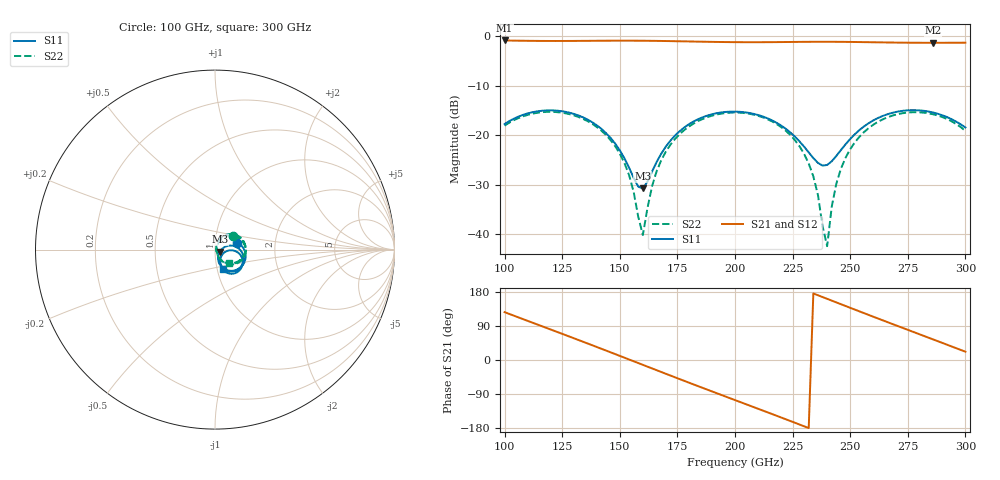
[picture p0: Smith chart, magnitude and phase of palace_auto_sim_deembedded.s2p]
! Created with skrf 1.11.0 (http://scikit-rf.org).
# GHz S DB R 50.0
!freq dBS11 angS11 dBS21 angS21 dBS12 angS12 dBS22 angS22
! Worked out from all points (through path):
!   101 points, 100 GHz to 300 GHz, reference 50 ohm
!   highest |S21| = -0.86 dB at 100 GHz (marker M1); lowest = -1.3 dB at 286 GHz (marker M2)
!   group delay of S21, straight-line fit = 6.46 ps
!   lowest |S11| = -30.8 dB at 160 GHz (marker M3), VSWR 1.06, Z = 52.8 - j1.12 ohm
!   |S11| at or under -10 dB: start of sweep to end of sweep
!   |S22| runs from -42.4 to -15.3 dB; largest |S21 - S12| = 1.5e-13
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100  -17.75 17.5  -0.86 126.2  -0.86 126.2  -18.07 37.1
116  -15.07 -14.8  -0.95 89.6  -0.95 89.6  -15.36 5.4
134  -16.38 -51.3  -0.94 48.3  -0.94 48.3  -16.69 -31.3
150  -23.06 -73.6  -0.90 10.9  -0.90 10.9  -23.73 -60.9
154  -26.54 -69.2  -0.90 1.4  -0.90 1.4  -28.04 -64.1
160  -30.76 -21.5  -0.91 -12.8  -0.91 -12.8  -40.18 10.8
164  -27.35 9.2  -0.93 -22.2  -0.93 -22.2  -30.30 61.8
168  -23.72 16.3  -0.96 -31.7  -0.96 -31.7  -25.04 61.5
174  -20.06 12.6  -1.00 -45.8  -1.00 -45.8  -20.75 52.5
184  -16.76 -2.9  -1.09 -69.0  -1.09 -69.0  -17.14 33.3
200  -15.23 -31.7  -1.20 -105.8  -1.20 -105.8  -15.42 0.8
222  -18.69 -65.6  -1.17 -156.3  -1.17 -156.3  -19.08 -44.6
230  -22.32 -67.3  -1.14 -175.0  -1.14 -175.0  -23.78 -60.1
234  -24.62 -58.9  -1.13 175.6  -1.13 175.6  -28.31 -65.2
240  -26.01 -27.5  -1.12 161.4  -1.12 161.4  -42.42 32.5
242  -25.27 -17.2  -1.13 156.7  -1.13 156.7  -34.39 67.0
244  -24.18 -9.7  -1.13 151.9  -1.13 151.9  -29.76 70.7
248  -21.83 -2.9  -1.15 142.5  -1.15 142.5  -24.54 66.8
256  -18.22 -5.8  -1.19 123.7  -1.19 123.7  -19.37 51.5
268  -15.51 -22.8  -1.27 95.7  -1.27 95.7  -16.09 25.8
286  -15.42 -52.0  -1.33 54.3  -1.33 54.3  -15.77 -13.3
300  -18.44 -67.8  -1.31 21.9  -1.31 21.9  -19.13 -43.5
